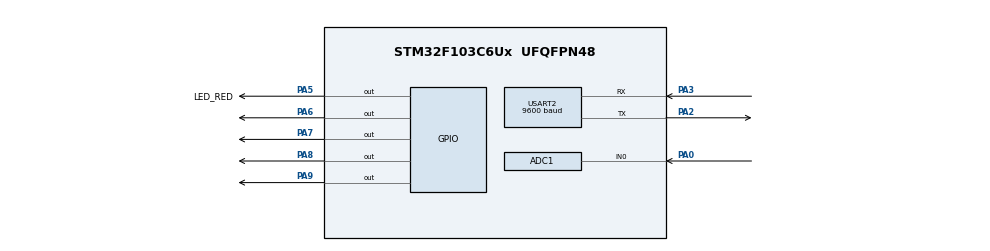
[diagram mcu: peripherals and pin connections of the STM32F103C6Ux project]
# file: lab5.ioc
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ADC1.Channel-0\#ChannelRegularConversion=ADC_CHANNEL_0
ADC1.ContinuousConvMode=ENABLE
ADC1.NbrOfConversionFlag=1
ADC1.Rank-0\#ChannelRegularConversion=1
ADC1.SamplingTime-0\#ChannelRegularConversion=ADC_SAMPLETIME_1CYCLE_5
ADC1.master=1
Mcu.Family=STM32F1
Mcu.Name=STM32F103C6Ux
Mcu.Package=UFQFPN48
NVIC.PriorityGroup=NVIC_PRIORITYGROUP_4
NVIC.TIM2_IRQn=true\:0\:0\:false\:false\:true\:true\:true
NVIC.USART2_IRQn=true\:0\:0\:false\:false\:true\:true\:true
PA0-WKUP.Signal=ADCx_IN0
PA2.Mode=Asynchronous
PA2.Signal=USART2_TX
PA3.Mode=Asynchronous
PA3.Signal=USART2_RX
PA5.GPIO_Label=LED_RED
PA5.Signal=GPIO_Output
PA6.Signal=GPIO_Output
PA7.Signal=GPIO_Output
PA8.Signal=GPIO_Output
PA9.Signal=GPIO_Output
ProjectManager.HeapSize=0x200
ProjectManager.StackSize=0x400
ProjectManager.TargetToolchain=STM32CubeIDE
RCC.APB1Freq_Value=8000000
RCC.APB2Freq_Value=8000000
SH.ADCx_IN0.0=ADC1_IN0,IN0
TIM2.Period=10
TIM2.Prescaler=7999
USART2.BaudRate=9600
USART2.VirtualMode=VM_ASYNC
VP_SYS_VS_ND.Mode=No_Debug
VP_TIM2_VS_ClockSourceINT.Mode=Internal
board=custom

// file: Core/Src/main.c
/* USER CODE BEGIN Header */
/**
  ******************************************************************************
  * @file           : main.c
  * @brief          : Main program body
  ******************************************************************************
  * @attention
  *
  * <h2><center>&copy; Copyright (c) 2023 STMicroelectronics.
  * All rights reserved.</center></h2>
  *
  * This software component is licensed by ST under BSD 3-Clause license,
  * the "License"; You may not use this file except in compliance with the
  * License. You may obtain a copy of the License at:
  *                        opensource.org/licenses/BSD-3-Clause
  *
  ******************************************************************************
  */
/* USER CODE END Header */
#include "main.h"
#include "fsm.h"
#include "scheduler.h"

ADC_HandleTypeDef hadc1;

TIM_HandleTypeDef htim2;

UART_HandleTypeDef huart2;

void SystemClock_Config(void);
static void MX_TIM2_Init(void);
static void MX_GPIO_Init(void);
static void MX_USART2_UART_Init(void);
static void MX_ADC1_Init(void);

/* USER CODE BEGIN 0 */
void HAL_UART_RxCpltCallback(UART_HandleTypeDef *huart) {
  if (huart->Instance==USART2) {
	  HAL_UART_Transmit (& huart2 , & temp , 1 , 50) ;
	  buffer[index_buffer++]=temp;
	  if (index_buffer==30) index_buffer=0;
	  buffer_flag=1;
	  HAL_UART_Receive_IT(&huart2, &temp, 1);
  }
}
/* USER CODE END 0 */

void led0() {
	HAL_GPIO_TogglePin(GPIOA, LED_RED_Pin);
}

int main(void)
{

  /* MCU Configuration--------------------------------------------------------*/

  /* Reset of all peripherals, Initializes the Flash interface and the Systick. */
  HAL_Init();

  /* Configure the system clock */
  SystemClock_Config();

  /* Initialize all configured peripherals */
  MX_TIM2_Init();
  MX_GPIO_Init();
  MX_USART2_UART_Init();
  MX_ADC1_Init();
  /* USER CODE BEGIN 2 */
  HAL_TIM_Base_Start_IT (& htim2 ) ;
  HAL_UART_Receive_IT(&huart2, &temp, 1);
  /* USER CODE END 2 */

  /* Infinite loop */
  /* USER CODE BEGIN WHILE */
  SCH_Init();

  SCH_Add_Task(timerRun, 0, 1);
  SCH_Add_Task(command_parser_fsm, 0, 1);
  SCH_Add_Task(uart_communication_fsm, 0, 1);
//  SCH_Add_Task(led0,0,100);
 timer1_flag=1;
  while (1)
  {
    /* USER CODE END WHILE */
	  SCH_Dispatch_Tasks();
  }
}

void SystemClock_Config(void)
{
  RCC_OscInitTypeDef RCC_OscInitStruct = {0};
  RCC_ClkInitTypeDef RCC_ClkInitStruct = {0};
  RCC_PeriphCLKInitTypeDef PeriphClkInit = {0};

  /** Initializes the RCC Oscillators according to the specified parameters
  * in the RCC_OscInitTypeDef structure.
  */
  RCC_OscInitStruct.OscillatorType = RCC_OSCILLATORTYPE_HSI;
  RCC_OscInitStruct.HSIState = RCC_HSI_ON;
  RCC_OscInitStruct.HSICalibrationValue = RCC_HSICALIBRATION_DEFAULT;
  RCC_OscInitStruct.PLL.PLLState = RCC_PLL_NONE;
  if (HAL_RCC_OscConfig(&RCC_OscInitStruct) != HAL_OK)
  {
    Error_Handler();
  }
  /** Initializes the CPU, AHB and APB buses clocks
  */
  RCC_ClkInitStruct.ClockType = RCC_CLOCKTYPE_HCLK|RCC_CLOCKTYPE_SYSCLK
                              |RCC_CLOCKTYPE_PCLK1|RCC_CLOCKTYPE_PCLK2;
  RCC_ClkInitStruct.SYSCLKSource = RCC_SYSCLKSOURCE_HSI;
  RCC_ClkInitStruct.AHBCLKDivider = RCC_SYSCLK_DIV1;
  RCC_ClkInitStruct.APB1CLKDivider = RCC_HCLK_DIV1;
  RCC_ClkInitStruct.APB2CLKDivider = RCC_HCLK_DIV1;

  if (HAL_RCC_ClockConfig(&RCC_ClkInitStruct, FLASH_LATENCY_0) != HAL_OK)
  {
    Error_Handler();
  }
  PeriphClkInit.PeriphClockSelection = RCC_PERIPHCLK_ADC;
  PeriphClkInit.AdcClockSelection = RCC_ADCPCLK2_DIV2;
  if (HAL_RCCEx_PeriphCLKConfig(&PeriphClkInit) != HAL_OK)
  {
    Error_Handler();
  }
}

static void MX_ADC1_Init(void)
{

  ADC_ChannelConfTypeDef sConfig = {0};

  /** Common config
  */
  hadc1.Instance = ADC1;
  hadc1.Init.ScanConvMode = ADC_SCAN_DISABLE;
  hadc1.Init.ContinuousConvMode = ENABLE;
  hadc1.Init.DiscontinuousConvMode = DISABLE;
  hadc1.Init.ExternalTrigConv = ADC_SOFTWARE_START;
  hadc1.Init.DataAlign = ADC_DATAALIGN_RIGHT;
  hadc1.Init.NbrOfConversion = 1;
  if (HAL_ADC_Init(&hadc1) != HAL_OK)
  {
    Error_Handler();
  }
  /** Configure Regular Channel
  */
  sConfig.Channel = ADC_CHANNEL_0;
  sConfig.Rank = ADC_REGULAR_RANK_1;
  sConfig.SamplingTime = ADC_SAMPLETIME_1CYCLE_5;
  if (HAL_ADC_ConfigChannel(&hadc1, &sConfig) != HAL_OK)
  {
    Error_Handler();
  }

}

static void MX_TIM2_Init(void)
{

  TIM_ClockConfigTypeDef sClockSourceConfig = {0};
  TIM_MasterConfigTypeDef sMasterConfig = {0};

  htim2.Instance = TIM2;
  htim2.Init.Prescaler = 7999;
  htim2.Init.CounterMode = TIM_COUNTERMODE_UP;
  htim2.Init.Period = 10;
  htim2.Init.ClockDivision = TIM_CLOCKDIVISION_DIV1;
  htim2.Init.AutoReloadPreload = TIM_AUTORELOAD_PRELOAD_DISABLE;
  if (HAL_TIM_Base_Init(&htim2) != HAL_OK)
  {
    Error_Handler();
  }
  sClockSourceConfig.ClockSource = TIM_CLOCKSOURCE_INTERNAL;
  if (HAL_TIM_ConfigClockSource(&htim2, &sClockSourceConfig) != HAL_OK)
  {
    Error_Handler();
  }
  sMasterConfig.MasterOutputTrigger = TIM_TRGO_RESET;
  sMasterConfig.MasterSlaveMode = TIM_MASTERSLAVEMODE_DISABLE;
  if (HAL_TIMEx_MasterConfigSynchronization(&htim2, &sMasterConfig) != HAL_OK)
  {
    Error_Handler();
  }

}

static void MX_USART2_UART_Init(void)
{

  huart2.Instance = USART2;
  huart2.Init.BaudRate = 9600;
  huart2.Init.WordLength = UART_WORDLENGTH_8B;
  huart2.Init.StopBits = UART_STOPBITS_1;
  huart2.Init.Parity = UART_PARITY_NONE;
  huart2.Init.Mode = UART_MODE_TX_RX;
  huart2.Init.HwFlowCtl = UART_HWCONTROL_NONE;
  huart2.Init.OverSampling = UART_OVERSAMPLING_16;
  if (HAL_UART_Init(&huart2) != HAL_OK)
  {
    Error_Handler();
  }

}

static void MX_GPIO_Init(void)
{
  GPIO_InitTypeDef GPIO_InitStruct = {0};

  /* GPIO Ports Clock Enable */
  __HAL_RCC_GPIOA_CLK_ENABLE();

  /*Configure GPIO pin Output Level */
  HAL_GPIO_WritePin(GPIOA, LED_RED_Pin|GPIO_PIN_6|GPIO_PIN_7|GPIO_PIN_8
                          |GPIO_PIN_9, GPIO_PIN_RESET);

  /*Configure GPIO pins : LED_RED_Pin PA6 PA7 PA8
                           PA9 */
  GPIO_InitStruct.Pin = LED_RED_Pin|GPIO_PIN_6|GPIO_PIN_7|GPIO_PIN_8
                          |GPIO_PIN_9;
  GPIO_InitStruct.Mode = GPIO_MODE_OUTPUT_PP;
  GPIO_InitStruct.Pull = GPIO_NOPULL;
  GPIO_InitStruct.Speed = GPIO_SPEED_FREQ_LOW;
  HAL_GPIO_Init(GPIOA, &GPIO_InitStruct);

}

/* USER CODE BEGIN 4 */
void HAL_TIM_PeriodElapsedCallback( TIM_HandleTypeDef * htim ) {
//	update_time();
	SCH_Update();
}
/* USER CODE END 4 */

void Error_Handler(void)
{
  __disable_irq();
  while (1)
  {
  }
}

/************************ (C) COPYRIGHT STMicroelectronics *****END OF FILE****/
